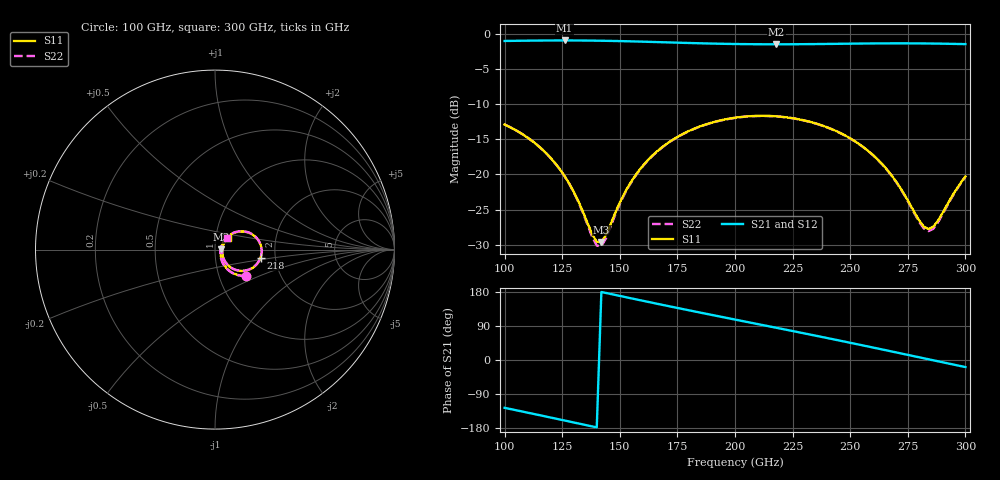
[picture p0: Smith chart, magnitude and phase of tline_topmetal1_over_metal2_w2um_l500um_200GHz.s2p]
#  GHZ S DB R 50
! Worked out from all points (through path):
!   101 points, 100 GHz to 300 GHz, reference 50 ohm
!   highest |S21| = -0.99 dB at 126 GHz (marker M1); lowest = -1.5 dB at 218 GHz (marker M2)
!   group delay of S21, straight-line fit = 3.48 ps
!   lowest |S11| = -29.6 dB at 142 GHz (marker M3), VSWR 1.07, Z = 53.4 + j0.127 ohm
!   |S11| at or under -10 dB: start of sweep to end of sweep
!   |S22| runs from -30.2 to -11.7 dB; largest |S21 - S12| = 1.5e-13
!   S11 on the Smith chart (normalised r, x): 100 GHz: 1.35, -0.41; 218 GHz: 1.67, -0.16; 300 GHz: 1.14, +0.15
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100  -12.92 -39.9  -1.06 -126.2  -1.06 -126.2  -12.92 -40.2
114  -15.79 -52.9  -1.00 -144.1  -1.00 -144.1  -15.79 -53.4
126  -20.22 -59.3  -0.99 -159.6  -0.99 -159.6  -20.26 -60.2
134  -25.30 -51.5  -1.00 -170.1  -1.00 -170.1  -25.46 -53.3
138  -28.49 -33.3  -1.01 -175.3  -1.01 -175.3  -28.88 -35.2
140  -29.58 -16.9  -1.02 -177.9  -1.02 -177.9  -30.12 -18.1
142  -29.62 2.1  -1.03 179.5  -1.03 179.5  -30.20 2.4
154  -21.53 44.9  -1.11 164.0  -1.11 164.0  -21.65 46.4
160  -18.78 44.2  -1.16 156.3  -1.16 156.3  -18.84 45.4
168  -16.24 39.2  -1.23 146.1  -1.23 146.1  -16.28 40.1
184  -13.29 24.7  -1.38 126.2  -1.38 126.2  -13.32 25.4
200  -11.96 8.6  -1.49 106.7  -1.49 106.7  -11.98 9.2
218  -11.76 -9.9  -1.53 84.9  -1.53 84.9  -11.78 -9.4
234  -12.67 -26.1  -1.50 65.4  -1.50 65.4  -12.68 -25.6
244  -13.87 -35.7  -1.46 53.0  -1.46 53.0  -13.88 -35.3
254  -15.73 -44.2  -1.43 40.4  -1.43 40.4  -15.74 -44.0
262  -17.91 -49.2  -1.41 30.2  -1.41 30.2  -17.94 -49.1
268  -20.16 -50.4  -1.40 22.5  -1.40 22.5  -20.20 -50.4
280  -26.58 -28.4  -1.41 7.0  -1.41 7.0  -26.79 -28.6
284  -27.76 -4.2  -1.42 1.9  -1.42 1.9  -28.06 -3.7
288  -26.63 20.0  -1.44 -3.3  -1.44 -3.3  -26.87 21.4
300  -20.30 42.3  -1.51 -18.7  -1.51 -18.7  -20.37 43.8
